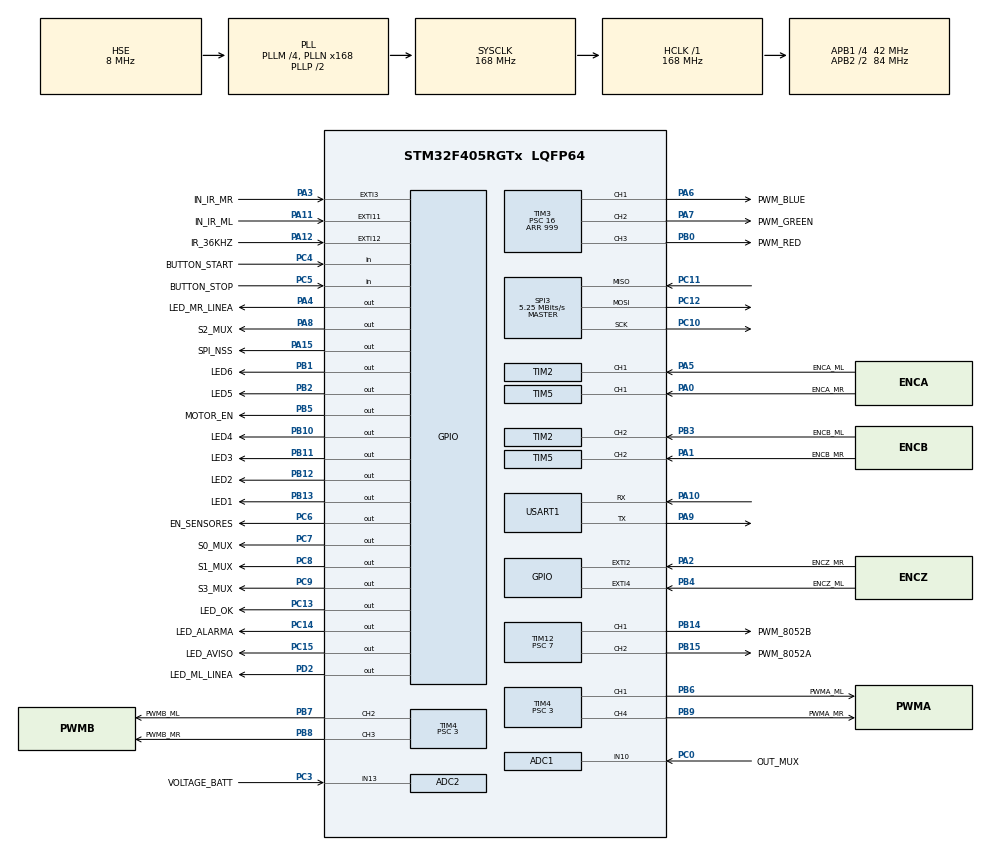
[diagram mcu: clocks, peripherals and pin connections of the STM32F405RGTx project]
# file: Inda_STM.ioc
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ADC1.Channel-0\#ChannelRegularConversion=ADC_CHANNEL_10
ADC1.NbrOfConversionFlag=1
ADC1.Rank-0\#ChannelRegularConversion=1
ADC1.SamplingTime-0\#ChannelRegularConversion=ADC_SAMPLETIME_3CYCLES
ADC1.master=1
ADC2.Channel-0\#ChannelRegularConversion=ADC_CHANNEL_13
ADC2.NbrOfConversionFlag=1
ADC2.Rank-0\#ChannelRegularConversion=1
ADC2.SamplingTime-0\#ChannelRegularConversion=ADC_SAMPLETIME_3CYCLES
Mcu.Family=STM32F4
Mcu.Name=STM32F405RGTx
Mcu.Package=LQFP64
NVIC.PriorityGroup=NVIC_PRIORITYGROUP_4
NVIC.TIM1_UP_TIM10_IRQn=true\:0\:0\:false\:false\:true\:true\:true\:true
PA0-WKUP.GPIO_Label=ENCA_MR
PA0-WKUP.Signal=S_TIM5_CH1
PA1.GPIO_Label=ENCB_MR
PA1.Signal=S_TIM5_CH2
PA10.Mode=Asynchronous
PA10.Signal=USART1_RX
PA11.GPIO_Label=IN_IR_ML
PA11.Signal=GPXTI11
PA12.GPIO_Label=IR_36KHZ
PA12.Signal=GPXTI12
PA13.Mode=Serial_Wire
PA13.Signal=SYS_JTMS-SWDIO
PA14.Mode=Serial_Wire
PA14.Signal=SYS_JTCK-SWCLK
PA15.GPIO_Label=SPI_NSS
PA15.GPIO_Speed=GPIO_SPEED_FREQ_HIGH
PA15.Signal=GPIO_Output
PA2.GPIO_Label=ENCZ_MR
PA2.Signal=GPXTI2
PA3.GPIO_Label=IN_IR_MR
PA3.Signal=GPXTI3
PA4.GPIO_Label=LED_MR_LINEA
PA4.Signal=GPIO_Output
PA5.GPIO_Label=ENCA_ML
PA5.Signal=S_TIM2_CH1_ETR
PA6.GPIO_Label=PWM_BLUE
PA6.Signal=S_TIM3_CH1
PA7.GPIO_Label=PWM_GREEN
PA7.Signal=S_TIM3_CH2
PA8.GPIO_Label=S2_MUX
PA8.Signal=GPIO_Output
PA9.Mode=Asynchronous
PA9.Signal=USART1_TX
PB0.GPIO_Label=PWM_RED
PB0.Signal=S_TIM3_CH3
PB1.GPIO_Label=LED6
PB1.Signal=GPIO_Output
PB10.GPIO_Label=LED4
PB10.Signal=GPIO_Output
PB11.GPIO_Label=LED3
PB11.Signal=GPIO_Output
PB12.GPIO_Label=LED2
PB12.Signal=GPIO_Output
PB13.GPIO_Label=LED1
PB13.Signal=GPIO_Output
PB14.GPIO_Label=PWM_8052B
PB14.Signal=S_TIM12_CH1
PB15.GPIO_Label=PWM_8052A
PB15.Signal=S_TIM12_CH2
PB2.GPIO_Label=LED5
PB2.Signal=GPIO_Output
PB3.GPIO_Label=ENCB_ML
PB3.Signal=S_TIM2_CH2
PB4.GPIO_Label=ENCZ_ML
PB4.Signal=GPXTI4
PB5.GPIO_Label=MOTOR_EN
PB5.GPIO_Speed=GPIO_SPEED_FREQ_HIGH
PB5.Signal=GPIO_Output
PB6.GPIO_Label=PWMA_ML
PB6.Signal=S_TIM4_CH1
PB7.GPIO_Label=PWMB_ML
PB7.Signal=S_TIM4_CH2
PB8.GPIO_Label=PWMB_MR
PB8.Signal=S_TIM4_CH3
PB9.GPIO_Label=PWMA_MR
PB9.Signal=S_TIM4_CH4
PC0.GPIO_Label=OUT_MUX
PC0.Signal=ADCx_IN10
PC10.Mode=Full_Duplex_Master
PC10.Signal=SPI3_SCK
PC11.Mode=Full_Duplex_Master
PC11.Signal=SPI3_MISO
PC12.Mode=Full_Duplex_Master
PC12.Signal=SPI3_MOSI
PC13-ANTI_TAMP.GPIO_Label=LED_OK
PC13-ANTI_TAMP.Signal=GPIO_Output
PC14-OSC32_IN.GPIO_Label=LED_ALARMA
PC14-OSC32_IN.Signal=GPIO_Output
PC15-OSC32_OUT.GPIO_Label=LED_AVISO
PC15-OSC32_OUT.Signal=GPIO_Output
PC3.GPIO_Label=VOLTAGE_BATT
PC3.Signal=ADCx_IN13
PC4.GPIO_Label=BUTTON_START
PC4.Signal=GPIO_Input
PC5.GPIO_Label=BUTTON_STOP
PC5.Signal=GPIO_Input
PC6.GPIO_Label=EN_SENSORES
PC6.GPIO_Speed=GPIO_SPEED_FREQ_HIGH
PC6.Signal=GPIO_Output
PC7.GPIO_Label=S0_MUX
PC7.Signal=GPIO_Output
PC8.GPIO_Label=S1_MUX
PC8.Signal=GPIO_Output
PC9.GPIO_Label=S3_MUX
PC9.Signal=GPIO_Output
PD2.GPIO_Label=LED_ML_LINEA
PD2.Signal=GPIO_Output
PH0-OSC_IN.Mode=HSE-External-Oscillator
PH0-OSC_IN.Signal=RCC_OSC_IN
PH1-OSC_OUT.Mode=HSE-External-Oscillator
PH1-OSC_OUT.Signal=RCC_OSC_OUT
ProjectManager.HeapSize=0x200
ProjectManager.StackSize=0x400
ProjectManager.TargetToolchain=STM32CubeIDE
RCC.48MHZClocksFreq_Value=84000000
RCC.AHBFreq_Value=168000000
RCC.APB1CLKDivider=RCC_HCLK_DIV4
RCC.APB1Freq_Value=42000000
RCC.APB1TimFreq_Value=84000000
RCC.APB2CLKDivider=RCC_HCLK_DIV2
RCC.APB2Freq_Value=84000000
RCC.APB2TimFreq_Value=168000000
RCC.CortexFreq_Value=168000000
RCC.HCLKFreq_Value=168000000
RCC.HSE_VALUE=8000000
RCC.HSI_VALUE=16000000
RCC.LSE_VALUE=32768
RCC.PLLM=4
RCC.PLLN=168
RCC.PLLSourceVirtual=RCC_PLLSOURCE_HSE
RCC.SYSCLKFreq_VALUE=168000000
RCC.SYSCLKSource=RCC_SYSCLKSOURCE_PLLCLK
RCC.VCOOutputFreq_Value=336000000
SH.ADCx_IN10.0=ADC1_IN10,IN10
SH.ADCx_IN13.0=ADC2_IN13,IN13
SH.S_TIM12_CH1.0=TIM12_CH1,PWM Generation1 CH1
SH.S_TIM12_CH2.0=TIM12_CH2,PWM Generation2 CH2
SH.S_TIM2_CH1_ETR.0=TIM2_CH1,Encoder_Interface
SH.S_TIM2_CH2.0=TIM2_CH2,Encoder_Interface
SH.S_TIM3_CH1.0=TIM3_CH1,PWM Generation1 CH1
SH.S_TIM3_CH2.0=TIM3_CH2,PWM Generation2 CH2
SH.S_TIM3_CH3.0=TIM3_CH3,PWM Generation3 CH3
SH.S_TIM4_CH1.0=TIM4_CH1,PWM Generation1 CH1
SH.S_TIM4_CH2.0=TIM4_CH2,PWM Generation2 CH2
SH.S_TIM4_CH3.0=TIM4_CH3,PWM Generation3 CH3
SH.S_TIM4_CH4.0=TIM4_CH4,PWM Generation4 CH4
SH.S_TIM5_CH1.0=TIM5_CH1,Encoder_Interface
SH.S_TIM5_CH2.0=TIM5_CH2,Encoder_Interface
SPI3.BaudRatePrescaler=SPI_BAUDRATEPRESCALER_8
SPI3.CalculateBaudRate=5.25 MBits/s
SPI3.Direction=SPI_DIRECTION_2LINES
SPI3.Mode=SPI_MODE_MASTER
SPI3.VirtualType=VM_MASTER
TIM1.Period=10499
TIM12.Channel-PWM\ Generation1\ CH1=TIM_CHANNEL_1
TIM12.Channel-PWM\ Generation2\ CH2=TIM_CHANNEL_2
TIM12.Period=999
TIM12.Prescaler=7
TIM3.Channel-PWM\ Generation1\ CH1=TIM_CHANNEL_1
TIM3.Channel-PWM\ Generation2\ CH2=TIM_CHANNEL_2
TIM3.Channel-PWM\ Generation3\ CH3=TIM_CHANNEL_3
TIM3.Period=999
TIM3.Prescaler=16
TIM4.Channel-PWM\ Generation1\ CH1=TIM_CHANNEL_1
TIM4.Channel-PWM\ Generation2\ CH2=TIM_CHANNEL_2
TIM4.Channel-PWM\ Generation3\ CH3=TIM_CHANNEL_3
TIM4.Channel-PWM\ Generation4\ CH4=TIM_CHANNEL_4
TIM4.Period=999
TIM4.Prescaler=3
TIM5.IC1Polarity=TIM_ICPOLARITY_FALLING
USART1.VirtualMode=VM_ASYNC
VP_TIM12_VS_ClockSourceINT.Mode=Internal
VP_TIM1_VS_ClockSourceINT.Mode=Internal
VP_TIM3_VS_ClockSourceINT.Mode=Internal
VP_TIM4_VS_ClockSourceINT.Mode=Internal
board=custom

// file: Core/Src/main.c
/* USER CODE BEGIN Header */
/**
  ******************************************************************************
  * @file           : main.c
  * @brief          : Main program body
  ******************************************************************************
  * @attention
  *
  * Copyright (c) 2026 STMicroelectronics.
  * All rights reserved.
  *
  * This software is licensed under terms that can be found in the LICENSE file
  * in the root directory of this software component.
  * If no LICENSE file comes with this software, it is provided AS-IS.
  *
  ******************************************************************************
  */
/* USER CODE END Header */
#include "main.h"

/* USER CODE BEGIN Includes */
#include "stdio.h"
#include "string.h"
#include "LIB_MPU6500_SPI.h"
#include "LIB_Motores.h"
/* USER CODE END Includes */

/* USER CODE BEGIN PTD */
Motores_Init	Motor;
MPU6500_Init_Values_t 	MPU6500_Raw;
MPU6500_Init_float_t	MPU6500_Conv;
MPU6500_status_e	MPU6500_Status;
/* USER CODE END PTD */

/* USER CODE BEGIN PD */
char bufferTxt[30];
int32_t posicion_actual = 0;
    int32_t posicion_anterior = 0;
    int32_t delta_pasos = 0;
    float velocidad_grande_rpm = 0.0f;
    uint8_t divisor_1ms = 0;
/* USER CODE END PD */

ADC_HandleTypeDef hadc1;
ADC_HandleTypeDef hadc2;

SPI_HandleTypeDef hspi3;

TIM_HandleTypeDef htim1;
TIM_HandleTypeDef htim2;
TIM_HandleTypeDef htim3;
TIM_HandleTypeDef htim4;
TIM_HandleTypeDef htim5;
TIM_HandleTypeDef htim12;

UART_HandleTypeDef huart1;

void SystemClock_Config(void);
static void MX_GPIO_Init(void);
static void MX_SPI3_Init(void);
static void MX_USART1_UART_Init(void);
static void MX_TIM2_Init(void);
static void MX_TIM4_Init(void);
static void MX_TIM5_Init(void);
static void MX_ADC1_Init(void);
static void MX_ADC2_Init(void);
static void MX_TIM3_Init(void);
static void MX_TIM12_Init(void);
static void MX_TIM1_Init(void);

int main(void)
{

  /* MCU Configuration--------------------------------------------------------*/

  /* Reset of all peripherals, Initializes the Flash interface and the Systick. */
  HAL_Init();

  /* Configure the system clock */
  SystemClock_Config();

  /* Initialize all configured peripherals */
  MX_GPIO_Init();
  MX_SPI3_Init();
  MX_USART1_UART_Init();
  MX_TIM2_Init();
  MX_TIM4_Init();
  MX_TIM5_Init();
  MX_ADC1_Init();
  MX_ADC2_Init();
  MX_TIM3_Init();
  MX_TIM12_Init();
  MX_TIM1_Init();
  /* USER CODE BEGIN 2 */
  HAL_Delay(500);
  MPU6500_Status=MPU6500_Init(&MPU6500_Raw,100,DPS250,G2);
  /*if (MPU6500_Status==MPU6500_fail) {
	  for (;;) {
		  sprintf(bufferTxt," Fallo al iniciar MPU\r\n ");
		  HAL_UART_Transmit(&huart1, (uint8_t *)bufferTxt, strlen(bufferTxt), HAL_MAX_DELAY);
		  HAL_Delay(1000);
	  }
  }*/
  sprintf(bufferTxt,"Exito al iniciar MPU\r\n ");
  HAL_UART_Transmit(&huart1, (uint8_t *)bufferTxt, strlen(bufferTxt), HAL_MAX_DELAY);
  Motor.ENABLE=false;
  Motor.PWM_ML=0;
  Motor.PWM_ML=0;
  Inicializar_Motores(&Motor);

  HAL_TIM_PWM_Start(&htim3, TIM_CHANNEL_1);
  HAL_TIM_PWM_Start(&htim3, TIM_CHANNEL_2);
  HAL_TIM_PWM_Start(&htim3, TIM_CHANNEL_3);

  HAL_TIM_PWM_Stop(&htim12, TIM_CHANNEL_1);
  HAL_TIM_PWM_Stop(&htim12, TIM_CHANNEL_2);

 EN_SENSORES_GPIO_Port->ODR&=~EN_SENSORES_Pin;
 MOTOR_EN_GPIO_Port->ODR&=~MOTOR_EN_Pin;
 HAL_TIM_Encoder_Start(&htim2, TIM_CHANNEL_ALL);
 HAL_TIM_Encoder_Start(&htim5, TIM_CHANNEL_ALL);
 HAL_TIM_Base_Start_IT(&htim1);
  /* USER CODE END 2 */

  /* Infinite loop */
  /* USER CODE BEGIN WHILE */
  while (1)
  {
	   Motor.ENABLE=true;

Motor.PWM_ML=800;
		  Motor.PWM_MR=00;
		  PWM_Motores(&Motor);
	  /*	 LED_OK_GPIO_Port->ODR|=LED_OK_Pin;
	  		  HAL_Delay(300);

	  LED_ALARMA_GPIO_Port->ODR|=LED_ALARMA_Pin;
	  HAL_Delay(300);

	  LED_AVISO_GPIO_Port->ODR|=LED_AVISO_Pin;
	  HAL_Delay(300);
	  LED1_GPIO_Port->ODR|=LED1_Pin;
	  HAL_Delay(300);
	  LED2_GPIO_Port->ODR|=LED2_Pin;
	  HAL_Delay(300);
	  LED3_GPIO_Port->ODR|=LED3_Pin;
	  HAL_Delay(300);
	  LED4_GPIO_Port->ODR|=LED4_Pin;
	  HAL_Delay(300);
	  LED5_GPIO_Port->ODR|=LED5_Pin;
	  HAL_Delay(300);
	  LED6_GPIO_Port->ODR|=LED6_Pin;
	  HAL_Delay(300);
*/

	  LED_OK_GPIO_Port->ODR&=~LED_OK_Pin;
	  LED_AVISO_GPIO_Port->ODR&=~LED_AVISO_Pin;
	  LED_ALARMA_GPIO_Port->ODR&=~LED_ALARMA_Pin;

	  LED1_GPIO_Port->ODR&=~LED1_Pin;
	  LED2_GPIO_Port->ODR&=~LED2_Pin;
	  LED3_GPIO_Port->ODR&=~LED3_Pin;
	  LED4_GPIO_Port->ODR&=~LED4_Pin;
	  LED5_GPIO_Port->ODR&=~LED5_Pin;
	  LED6_GPIO_Port->ODR&=~LED6_Pin;

	  HAL_Delay(1000);

	  sprintf(bufferTxt," ML= %0.2f ",velocidad_grande_rpm);
	  HAL_UART_Transmit(&huart1, (uint8_t *)bufferTxt, strlen(bufferTxt), HAL_MAX_DELAY);

	  MPU6500_Read(&MPU6500_Raw);
	  		MPU6500_Conv=MPU6500_Converter(&MPU6500_Raw);
	  		sprintf(bufferTxt," ax= %0.2f ",MPU6500_Conv.MPU6500_floatAX);
	  		HAL_UART_Transmit(&huart1, (uint8_t *)bufferTxt, strlen(bufferTxt), HAL_MAX_DELAY);
	  		sprintf(bufferTxt," ay= %0.2f ",MPU6500_Conv.MPU6500_floatAY);
	  		HAL_UART_Transmit(&huart1, (uint8_t *)bufferTxt, strlen(bufferTxt), HAL_MAX_DELAY);
	  		sprintf(bufferTxt," az= %0.2f \r\n",MPU6500_Conv.MPU6500_floatAZ);
	  		HAL_UART_Transmit(&huart1, (uint8_t *)bufferTxt, strlen(bufferTxt), HAL_MAX_DELAY);

    /* USER CODE END WHILE */

  }
}

void SystemClock_Config(void)
{
  RCC_OscInitTypeDef RCC_OscInitStruct = {0};
  RCC_ClkInitTypeDef RCC_ClkInitStruct = {0};

  /** Configure the main internal regulator output voltage
  */
  __HAL_RCC_PWR_CLK_ENABLE();
  __HAL_PWR_VOLTAGESCALING_CONFIG(PWR_REGULATOR_VOLTAGE_SCALE1);

  /** Initializes the RCC Oscillators according to the specified parameters
  * in the RCC_OscInitTypeDef structure.
  */
  RCC_OscInitStruct.OscillatorType = RCC_OSCILLATORTYPE_HSE;
  RCC_OscInitStruct.HSEState = RCC_HSE_ON;
  RCC_OscInitStruct.PLL.PLLState = RCC_PLL_ON;
  RCC_OscInitStruct.PLL.PLLSource = RCC_PLLSOURCE_HSE;
  RCC_OscInitStruct.PLL.PLLM = 4;
  RCC_OscInitStruct.PLL.PLLN = 168;
  RCC_OscInitStruct.PLL.PLLP = RCC_PLLP_DIV2;
  RCC_OscInitStruct.PLL.PLLQ = 4;
  if (HAL_RCC_OscConfig(&RCC_OscInitStruct) != HAL_OK)
  {
    Error_Handler();
  }

  /** Initializes the CPU, AHB and APB buses clocks
  */
  RCC_ClkInitStruct.ClockType = RCC_CLOCKTYPE_HCLK|RCC_CLOCKTYPE_SYSCLK
                              |RCC_CLOCKTYPE_PCLK1|RCC_CLOCKTYPE_PCLK2;
  RCC_ClkInitStruct.SYSCLKSource = RCC_SYSCLKSOURCE_PLLCLK;
  RCC_ClkInitStruct.AHBCLKDivider = RCC_SYSCLK_DIV1;
  RCC_ClkInitStruct.APB1CLKDivider = RCC_HCLK_DIV4;
  RCC_ClkInitStruct.APB2CLKDivider = RCC_HCLK_DIV2;

  if (HAL_RCC_ClockConfig(&RCC_ClkInitStruct, FLASH_LATENCY_5) != HAL_OK)
  {
    Error_Handler();
  }
}

static void MX_ADC1_Init(void)
{

  ADC_ChannelConfTypeDef sConfig = {0};

  /** Configure the global features of the ADC (Clock, Resolution, Data Alignment and number of conversion)
  */
  hadc1.Instance = ADC1;
  hadc1.Init.ClockPrescaler = ADC_CLOCK_SYNC_PCLK_DIV4;
  hadc1.Init.Resolution = ADC_RESOLUTION_12B;
  hadc1.Init.ScanConvMode = DISABLE;
  hadc1.Init.ContinuousConvMode = DISABLE;
  hadc1.Init.DiscontinuousConvMode = DISABLE;
  hadc1.Init.ExternalTrigConvEdge = ADC_EXTERNALTRIGCONVEDGE_NONE;
  hadc1.Init.ExternalTrigConv = ADC_SOFTWARE_START;
  hadc1.Init.DataAlign = ADC_DATAALIGN_RIGHT;
  hadc1.Init.NbrOfConversion = 1;
  hadc1.Init.DMAContinuousRequests = DISABLE;
  hadc1.Init.EOCSelection = ADC_EOC_SINGLE_CONV;
  if (HAL_ADC_Init(&hadc1) != HAL_OK)
  {
    Error_Handler();
  }

  /** Configure for the selected ADC regular channel its corresponding rank in the sequencer and its sample time.
  */
  sConfig.Channel = ADC_CHANNEL_10;
  sConfig.Rank = 1;
  sConfig.SamplingTime = ADC_SAMPLETIME_3CYCLES;
  if (HAL_ADC_ConfigChannel(&hadc1, &sConfig) != HAL_OK)
  {
    Error_Handler();
  }

}

static void MX_ADC2_Init(void)
{

  ADC_ChannelConfTypeDef sConfig = {0};

  /** Configure the global features of the ADC (Clock, Resolution, Data Alignment and number of conversion)
  */
  hadc2.Instance = ADC2;
  hadc2.Init.ClockPrescaler = ADC_CLOCK_SYNC_PCLK_DIV4;
  hadc2.Init.Resolution = ADC_RESOLUTION_12B;
  hadc2.Init.ScanConvMode = DISABLE;
  hadc2.Init.ContinuousConvMode = DISABLE;
  hadc2.Init.DiscontinuousConvMode = DISABLE;
  hadc2.Init.ExternalTrigConvEdge = ADC_EXTERNALTRIGCONVEDGE_NONE;
  hadc2.Init.ExternalTrigConv = ADC_SOFTWARE_START;
  hadc2.Init.DataAlign = ADC_DATAALIGN_RIGHT;
  hadc2.Init.NbrOfConversion = 1;
  hadc2.Init.DMAContinuousRequests = DISABLE;
  hadc2.Init.EOCSelection = ADC_EOC_SINGLE_CONV;
  if (HAL_ADC_Init(&hadc2) != HAL_OK)
  {
    Error_Handler();
  }

  /** Configure for the selected ADC regular channel its corresponding rank in the sequencer and its sample time.
  */
  sConfig.Channel = ADC_CHANNEL_13;
  sConfig.Rank = 1;
  sConfig.SamplingTime = ADC_SAMPLETIME_3CYCLES;
  if (HAL_ADC_ConfigChannel(&hadc2, &sConfig) != HAL_OK)
  {
    Error_Handler();
  }

}

static void MX_SPI3_Init(void)
{

  /* SPI3 parameter configuration*/
  hspi3.Instance = SPI3;
  hspi3.Init.Mode = SPI_MODE_MASTER;
  hspi3.Init.Direction = SPI_DIRECTION_2LINES;
  hspi3.Init.DataSize = SPI_DATASIZE_8BIT;
  hspi3.Init.CLKPolarity = SPI_POLARITY_LOW;
  hspi3.Init.CLKPhase = SPI_PHASE_1EDGE;
  hspi3.Init.NSS = SPI_NSS_SOFT;
  hspi3.Init.BaudRatePrescaler = SPI_BAUDRATEPRESCALER_8;
  hspi3.Init.FirstBit = SPI_FIRSTBIT_MSB;
  hspi3.Init.TIMode = SPI_TIMODE_DISABLE;
  hspi3.Init.CRCCalculation = SPI_CRCCALCULATION_DISABLE;
  hspi3.Init.CRCPolynomial = 10;
  if (HAL_SPI_Init(&hspi3) != HAL_OK)
  {
    Error_Handler();
  }

}

static void MX_TIM1_Init(void)
{

  TIM_ClockConfigTypeDef sClockSourceConfig = {0};
  TIM_MasterConfigTypeDef sMasterConfig = {0};

  htim1.Instance = TIM1;
  htim1.Init.Prescaler = 0;
  htim1.Init.CounterMode = TIM_COUNTERMODE_UP;
  htim1.Init.Period = 10499;
  htim1.Init.ClockDivision = TIM_CLOCKDIVISION_DIV1;
  htim1.Init.RepetitionCounter = 0;
  htim1.Init.AutoReloadPreload = TIM_AUTORELOAD_PRELOAD_DISABLE;
  if (HAL_TIM_Base_Init(&htim1) != HAL_OK)
  {
    Error_Handler();
  }
  sClockSourceConfig.ClockSource = TIM_CLOCKSOURCE_INTERNAL;
  if (HAL_TIM_ConfigClockSource(&htim1, &sClockSourceConfig) != HAL_OK)
  {
    Error_Handler();
  }
  sMasterConfig.MasterOutputTrigger = TIM_TRGO_RESET;
  sMasterConfig.MasterSlaveMode = TIM_MASTERSLAVEMODE_DISABLE;
  if (HAL_TIMEx_MasterConfigSynchronization(&htim1, &sMasterConfig) != HAL_OK)
  {
    Error_Handler();
  }

}

static void MX_TIM2_Init(void)
{

  TIM_Encoder_InitTypeDef sConfig = {0};
  TIM_MasterConfigTypeDef sMasterConfig = {0};

  htim2.Instance = TIM2;
  htim2.Init.Prescaler = 0;
  htim2.Init.CounterMode = TIM_COUNTERMODE_UP;
  htim2.Init.Period = 4294967295;
  htim2.Init.ClockDivision = TIM_CLOCKDIVISION_DIV1;
  htim2.Init.AutoReloadPreload = TIM_AUTORELOAD_PRELOAD_DISABLE;
  sConfig.EncoderMode = TIM_ENCODERMODE_TI1;
  sConfig.IC1Polarity = TIM_ICPOLARITY_RISING;
  sConfig.IC1Selection = TIM_ICSELECTION_DIRECTTI;
  sConfig.IC1Prescaler = TIM_ICPSC_DIV1;
  sConfig.IC1Filter = 0;
  sConfig.IC2Polarity = TIM_ICPOLARITY_RISING;
  sConfig.IC2Selection = TIM_ICSELECTION_DIRECTTI;
  sConfig.IC2Prescaler = TIM_ICPSC_DIV1;
  sConfig.IC2Filter = 0;
  if (HAL_TIM_Encoder_Init(&htim2, &sConfig) != HAL_OK)
  {
    Error_Handler();
  }
  sMasterConfig.MasterOutputTrigger = TIM_TRGO_RESET;
  sMasterConfig.MasterSlaveMode = TIM_MASTERSLAVEMODE_DISABLE;
  if (HAL_TIMEx_MasterConfigSynchronization(&htim2, &sMasterConfig) != HAL_OK)
  {
    Error_Handler();
  }

}

static void MX_TIM3_Init(void)
{

  TIM_ClockConfigTypeDef sClockSourceConfig = {0};
  TIM_MasterConfigTypeDef sMasterConfig = {0};
  TIM_OC_InitTypeDef sConfigOC = {0};

  htim3.Instance = TIM3;
  htim3.Init.Prescaler = 16;
  htim3.Init.CounterMode = TIM_COUNTERMODE_UP;
  htim3.Init.Period = 999;
  htim3.Init.ClockDivision = TIM_CLOCKDIVISION_DIV1;
  htim3.Init.AutoReloadPreload = TIM_AUTORELOAD_PRELOAD_DISABLE;
  if (HAL_TIM_Base_Init(&htim3) != HAL_OK)
  {
    Error_Handler();
  }
  sClockSourceConfig.ClockSource = TIM_CLOCKSOURCE_INTERNAL;
  if (HAL_TIM_ConfigClockSource(&htim3, &sClockSourceConfig) != HAL_OK)
  {
    Error_Handler();
  }
  if (HAL_TIM_PWM_Init(&htim3) != HAL_OK)
  {
    Error_Handler();
  }
  sMasterConfig.MasterOutputTrigger = TIM_TRGO_RESET;
  sMasterConfig.MasterSlaveMode = TIM_MASTERSLAVEMODE_DISABLE;
  if (HAL_TIMEx_MasterConfigSynchronization(&htim3, &sMasterConfig) != HAL_OK)
  {
    Error_Handler();
  }
  sConfigOC.OCMode = TIM_OCMODE_PWM1;
  sConfigOC.Pulse = 0;
  sConfigOC.OCPolarity = TIM_OCPOLARITY_HIGH;
  sConfigOC.OCFastMode = TIM_OCFAST_DISABLE;
  if (HAL_TIM_PWM_ConfigChannel(&htim3, &sConfigOC, TIM_CHANNEL_1) != HAL_OK)
  {
    Error_Handler();
  }
  if (HAL_TIM_PWM_ConfigChannel(&htim3, &sConfigOC, TIM_CHANNEL_2) != HAL_OK)
  {
    Error_Handler();
  }
  if (HAL_TIM_PWM_ConfigChannel(&htim3, &sConfigOC, TIM_CHANNEL_3) != HAL_OK)
  {
    Error_Handler();
  }
  HAL_TIM_MspPostInit(&htim3);

}

static void MX_TIM4_Init(void)
{

  TIM_ClockConfigTypeDef sClockSourceConfig = {0};
  TIM_MasterConfigTypeDef sMasterConfig = {0};
  TIM_OC_InitTypeDef sConfigOC = {0};

  htim4.Instance = TIM4;
  htim4.Init.Prescaler = 3;
  htim4.Init.CounterMode = TIM_COUNTERMODE_UP;
  htim4.Init.Period = 999;
  htim4.Init.ClockDivision = TIM_CLOCKDIVISION_DIV1;
  htim4.Init.AutoReloadPreload = TIM_AUTORELOAD_PRELOAD_DISABLE;
  if (HAL_TIM_Base_Init(&htim4) != HAL_OK)
  {
    Error_Handler();
  }
  sClockSourceConfig.ClockSource = TIM_CLOCKSOURCE_INTERNAL;
  if (HAL_TIM_ConfigClockSource(&htim4, &sClockSourceConfig) != HAL_OK)
  {
    Error_Handler();
  }
  if (HAL_TIM_PWM_Init(&htim4) != HAL_OK)
  {
    Error_Handler();
  }
  sMasterConfig.MasterOutputTrigger = TIM_TRGO_RESET;
  sMasterConfig.MasterSlaveMode = TIM_MASTERSLAVEMODE_DISABLE;
  if (HAL_TIMEx_MasterConfigSynchronization(&htim4, &sMasterConfig) != HAL_OK)
  {
    Error_Handler();
  }
  sConfigOC.OCMode = TIM_OCMODE_PWM1;
  sConfigOC.Pulse = 0;
  sConfigOC.OCPolarity = TIM_OCPOLARITY_HIGH;
  sConfigOC.OCFastMode = TIM_OCFAST_DISABLE;
  if (HAL_TIM_PWM_ConfigChannel(&htim4, &sConfigOC, TIM_CHANNEL_1) != HAL_OK)
  {
    Error_Handler();
  }
  if (HAL_TIM_PWM_ConfigChannel(&htim4, &sConfigOC, TIM_CHANNEL_2) != HAL_OK)
  {
    Error_Handler();
  }
  if (HAL_TIM_PWM_ConfigChannel(&htim4, &sConfigOC, TIM_CHANNEL_3) != HAL_OK)
  {
    Error_Handler();
  }
  if (HAL_TIM_PWM_ConfigChannel(&htim4, &sConfigOC, TIM_CHANNEL_4) != HAL_OK)
  {
    Error_Handler();
  }
  HAL_TIM_MspPostInit(&htim4);

}

static void MX_TIM5_Init(void)
{

  TIM_Encoder_InitTypeDef sConfig = {0};
  TIM_MasterConfigTypeDef sMasterConfig = {0};

  htim5.Instance = TIM5;
  htim5.Init.Prescaler = 0;
  htim5.Init.CounterMode = TIM_COUNTERMODE_UP;
  htim5.Init.Period = 4294967295;
  htim5.Init.ClockDivision = TIM_CLOCKDIVISION_DIV1;
  htim5.Init.AutoReloadPreload = TIM_AUTORELOAD_PRELOAD_DISABLE;
  sConfig.EncoderMode = TIM_ENCODERMODE_TI1;
  sConfig.IC1Polarity = TIM_ICPOLARITY_FALLING;
  sConfig.IC1Selection = TIM_ICSELECTION_DIRECTTI;
  sConfig.IC1Prescaler = TIM_ICPSC_DIV1;
  sConfig.IC1Filter = 0;
  sConfig.IC2Polarity = TIM_ICPOLARITY_RISING;
  sConfig.IC2Selection = TIM_ICSELECTION_DIRECTTI;
  sConfig.IC2Prescaler = TIM_ICPSC_DIV1;
  sConfig.IC2Filter = 0;
  if (HAL_TIM_Encoder_Init(&htim5, &sConfig) != HAL_OK)
  {
    Error_Handler();
  }
  sMasterConfig.MasterOutputTrigger = TIM_TRGO_RESET;
  sMasterConfig.MasterSlaveMode = TIM_MASTERSLAVEMODE_DISABLE;
  if (HAL_TIMEx_MasterConfigSynchronization(&htim5, &sMasterConfig) != HAL_OK)
  {
    Error_Handler();
  }

}

static void MX_TIM12_Init(void)
{

  TIM_ClockConfigTypeDef sClockSourceConfig = {0};
  TIM_OC_InitTypeDef sConfigOC = {0};

  htim12.Instance = TIM12;
  htim12.Init.Prescaler = 7;
  htim12.Init.CounterMode = TIM_COUNTERMODE_UP;
  htim12.Init.Period = 999;
  htim12.Init.ClockDivision = TIM_CLOCKDIVISION_DIV1;
  htim12.Init.AutoReloadPreload = TIM_AUTORELOAD_PRELOAD_DISABLE;
  if (HAL_TIM_Base_Init(&htim12) != HAL_OK)
  {
    Error_Handler();
  }
  sClockSourceConfig.ClockSource = TIM_CLOCKSOURCE_INTERNAL;
  if (HAL_TIM_ConfigClockSource(&htim12, &sClockSourceConfig) != HAL_OK)
  {
    Error_Handler();
  }
  if (HAL_TIM_PWM_Init(&htim12) != HAL_OK)
  {
    Error_Handler();
  }
  sConfigOC.OCMode = TIM_OCMODE_PWM1;
  sConfigOC.Pulse = 0;
  sConfigOC.OCPolarity = TIM_OCPOLARITY_HIGH;
  sConfigOC.OCFastMode = TIM_OCFAST_DISABLE;
  if (HAL_TIM_PWM_ConfigChannel(&htim12, &sConfigOC, TIM_CHANNEL_1) != HAL_OK)
  {
    Error_Handler();
  }
  if (HAL_TIM_PWM_ConfigChannel(&htim12, &sConfigOC, TIM_CHANNEL_2) != HAL_OK)
  {
    Error_Handler();
  }
  HAL_TIM_MspPostInit(&htim12);

}

static void MX_USART1_UART_Init(void)
{

  huart1.Instance = USART1;
  huart1.Init.BaudRate = 115200;
  huart1.Init.WordLength = UART_WORDLENGTH_8B;
  huart1.Init.StopBits = UART_STOPBITS_1;
  huart1.Init.Parity = UART_PARITY_NONE;
  huart1.Init.Mode = UART_MODE_TX_RX;
  huart1.Init.HwFlowCtl = UART_HWCONTROL_NONE;
  huart1.Init.OverSampling = UART_OVERSAMPLING_16;
  if (HAL_UART_Init(&huart1) != HAL_OK)
  {
    Error_Handler();
  }

}

static void MX_GPIO_Init(void)
{
  GPIO_InitTypeDef GPIO_InitStruct = {0};

  /* GPIO Ports Clock Enable */
  __HAL_RCC_GPIOC_CLK_ENABLE();
  __HAL_RCC_GPIOH_CLK_ENABLE();
  __HAL_RCC_GPIOA_CLK_ENABLE();
  __HAL_RCC_GPIOB_CLK_ENABLE();
  __HAL_RCC_GPIOD_CLK_ENABLE();

  /*Configure GPIO pin Output Level */
  HAL_GPIO_WritePin(GPIOC, LED_OK_Pin|LED_ALARMA_Pin|LED_AVISO_Pin|EN_SENSORES_Pin
                          |S0_MUX_Pin|S1_MUX_Pin|S3_MUX_Pin, GPIO_PIN_RESET);

  /*Configure GPIO pin Output Level */
  HAL_GPIO_WritePin(GPIOA, LED_MR_LINEA_Pin|S2_MUX_Pin|SPI_NSS_Pin, GPIO_PIN_RESET);

  /*Configure GPIO pin Output Level */
  HAL_GPIO_WritePin(GPIOB, LED6_Pin|LED5_Pin|LED4_Pin|LED3_Pin
                          |LED2_Pin|LED1_Pin|MOTOR_EN_Pin, GPIO_PIN_RESET);

  /*Configure GPIO pin Output Level */
  HAL_GPIO_WritePin(LED_ML_LINEA_GPIO_Port, LED_ML_LINEA_Pin, GPIO_PIN_RESET);

  /*Configure GPIO pins : LED_OK_Pin LED_ALARMA_Pin LED_AVISO_Pin S0_MUX_Pin
                           S1_MUX_Pin S3_MUX_Pin */
  GPIO_InitStruct.Pin = LED_OK_Pin|LED_ALARMA_Pin|LED_AVISO_Pin|S0_MUX_Pin
                          |S1_MUX_Pin|S3_MUX_Pin;
  GPIO_InitStruct.Mode = GPIO_MODE_OUTPUT_PP;
  GPIO_InitStruct.Pull = GPIO_NOPULL;
  GPIO_InitStruct.Speed = GPIO_SPEED_FREQ_LOW;
  HAL_GPIO_Init(GPIOC, &GPIO_InitStruct);

  /*Configure GPIO pins : ENCZ_MR_Pin IN_IR_MR_Pin IN_IR_ML_Pin IR_36KHZ_Pin */
  GPIO_InitStruct.Pin = ENCZ_MR_Pin|IN_IR_MR_Pin|IN_IR_ML_Pin|IR_36KHZ_Pin;
  GPIO_InitStruct.Mode = GPIO_MODE_IT_RISING;
  GPIO_InitStruct.Pull = GPIO_NOPULL;
  HAL_GPIO_Init(GPIOA, &GPIO_InitStruct);

  /*Configure GPIO pins : LED_MR_LINEA_Pin S2_MUX_Pin */
  GPIO_InitStruct.Pin = LED_MR_LINEA_Pin|S2_MUX_Pin;
  GPIO_InitStruct.Mode = GPIO_MODE_OUTPUT_PP;
  GPIO_InitStruct.Pull = GPIO_NOPULL;
  GPIO_InitStruct.Speed = GPIO_SPEED_FREQ_LOW;
  HAL_GPIO_Init(GPIOA, &GPIO_InitStruct);

  /*Configure GPIO pins : BUTTON_START_Pin BUTTON_STOP_Pin */
  GPIO_InitStruct.Pin = BUTTON_START_Pin|BUTTON_STOP_Pin;
  GPIO_InitStruct.Mode = GPIO_MODE_INPUT;
  GPIO_InitStruct.Pull = GPIO_NOPULL;
  HAL_GPIO_Init(GPIOC, &GPIO_InitStruct);

  /*Configure GPIO pins : LED6_Pin LED5_Pin LED4_Pin LED3_Pin
                           LED2_Pin LED1_Pin */
  GPIO_InitStruct.Pin = LED6_Pin|LED5_Pin|LED4_Pin|LED3_Pin
                          |LED2_Pin|LED1_Pin;
  GPIO_InitStruct.Mode = GPIO_MODE_OUTPUT_PP;
  GPIO_InitStruct.Pull = GPIO_NOPULL;
  GPIO_InitStruct.Speed = GPIO_SPEED_FREQ_LOW;
  HAL_GPIO_Init(GPIOB, &GPIO_InitStruct);

  /*Configure GPIO pin : EN_SENSORES_Pin */
  GPIO_InitStruct.Pin = EN_SENSORES_Pin;
  GPIO_InitStruct.Mode = GPIO_MODE_OUTPUT_PP;
  GPIO_InitStruct.Pull = GPIO_NOPULL;
  GPIO_InitStruct.Speed = GPIO_SPEED_FREQ_HIGH;
  HAL_GPIO_Init(EN_SENSORES_GPIO_Port, &GPIO_InitStruct);

  /*Configure GPIO pin : SPI_NSS_Pin */
  GPIO_InitStruct.Pin = SPI_NSS_Pin;
  GPIO_InitStruct.Mode = GPIO_MODE_OUTPUT_PP;
  GPIO_InitStruct.Pull = GPIO_NOPULL;
  GPIO_InitStruct.Speed = GPIO_SPEED_FREQ_HIGH;
  HAL_GPIO_Init(SPI_NSS_GPIO_Port, &GPIO_InitStruct);

  /*Configure GPIO pin : LED_ML_LINEA_Pin */
  GPIO_InitStruct.Pin = LED_ML_LINEA_Pin;
  GPIO_InitStruct.Mode = GPIO_MODE_OUTPUT_PP;
  GPIO_InitStruct.Pull = GPIO_NOPULL;
  GPIO_InitStruct.Speed = GPIO_SPEED_FREQ_LOW;
  HAL_GPIO_Init(LED_ML_LINEA_GPIO_Port, &GPIO_InitStruct);

  /*Configure GPIO pin : ENCZ_ML_Pin */
  GPIO_InitStruct.Pin = ENCZ_ML_Pin;
  GPIO_InitStruct.Mode = GPIO_MODE_IT_RISING;
  GPIO_InitStruct.Pull = GPIO_NOPULL;
  HAL_GPIO_Init(ENCZ_ML_GPIO_Port, &GPIO_InitStruct);

  /*Configure GPIO pin : MOTOR_EN_Pin */
  GPIO_InitStruct.Pin = MOTOR_EN_Pin;
  GPIO_InitStruct.Mode = GPIO_MODE_OUTPUT_PP;
  GPIO_InitStruct.Pull = GPIO_NOPULL;
  GPIO_InitStruct.Speed = GPIO_SPEED_FREQ_HIGH;
  HAL_GPIO_Init(MOTOR_EN_GPIO_Port, &GPIO_InitStruct);

}

/* USER CODE BEGIN 4 */
void HAL_TIM_PeriodElapsedCallback(TIM_HandleTypeDef *htim)
{
    // Verificamos que la interrupción provenga del TIM1
    if (htim->Instance == TIM1)
    {
        // Este bloque se ejecuta exactamente cada 62.5 uS (16 kHz)
    	divisor_1ms++;
    	        if (divisor_1ms >= 16) // Equivale a exactamente cada 1 ms (16 * 62.5 uS)
    	        {
    	            divisor_1ms = 0; // Reiniciar el contador de tiempo

    	            // 1. Leer el contador del Timer del encoder
    	            posicion_actual = (int32_t)__HAL_TIM_GET_COUNTER(&htim2); // Cambia htim2 por tu timer del encoder

    	            // 2. Calcular la diferencia de pasos en este milisegundo
    	            delta_pasos = posicion_actual - posicion_anterior;

    	            // OBLIGATORIO: Si tu timer de encoder es de 16 bits (como TIM3 o TIM4),
    	            // descomenta la siguiente línea para que el desborde no rompa la matemática:
    	            // delta_pasos = (int16_t)(posicion_actual - posicion_anterior);

    	            // 3. Guardar la posición para el próximo ciclo de 1 ms
    	            posicion_anterior = posicion_actual;

    	            // 4. Aplicar la constante de conversión para las RPM del eje de 38 dientes
    	            velocidad_grande_rpm = (float)delta_pasos * 3.469368f;
    	        }

        // HAL_GPIO_TogglePin(GPIOA, GPIO_PIN_5);
    }
}
/* USER CODE END 4 */

void Error_Handler(void)
{
  __disable_irq();
  while (1)
  {
  }
}
